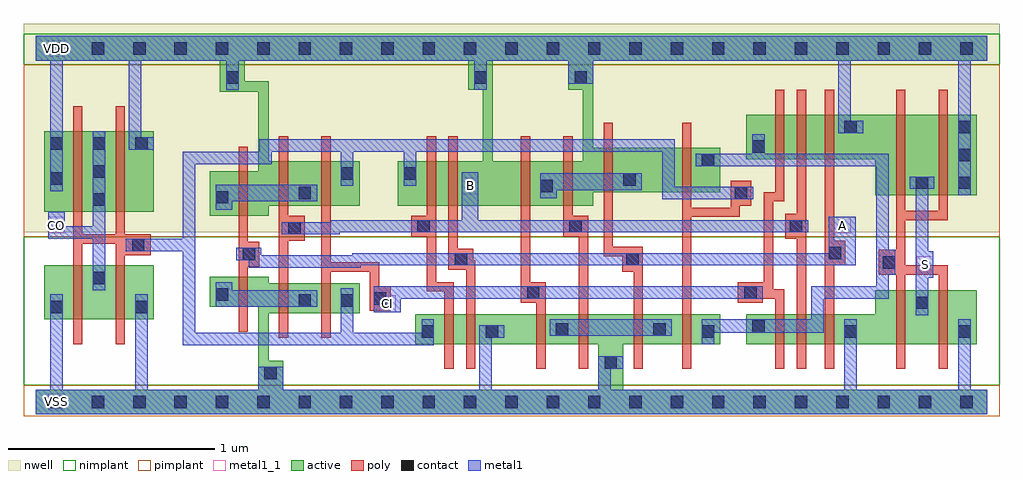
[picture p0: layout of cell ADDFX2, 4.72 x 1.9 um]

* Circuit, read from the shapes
.subckt ADDFX2 A B CI CO S VDD VSS
M1 CO n1 VSS VSS nfet w=0.26u l=0.045u m=2
M2 VSS A n2 VSS nfet w=0.145u l=0.045u
M3 n2 B VSS VSS nfet w=0.145u l=0.045u
M4 n1 CI n2 VSS nfet w=0.145u l=0.045u
M5 n3 B n1 VSS nfet w=0.145u l=0.045u
M6 VSS A n3 VSS nfet w=0.145u l=0.045u
M7 n4 CI VSS VSS nfet w=0.145u l=0.045u
M8 VSS B n4 VSS nfet w=0.145u l=0.045u
M9 n4 A VSS VSS nfet w=0.145u l=0.045u
M10 n5 n1 n4 VSS nfet w=0.145u l=0.045u
M11 n6 CI n5 VSS nfet w=0.145u l=0.045u
M12 n7 B n6 VSS nfet w=0.145u l=0.045u
M13 VSS A n7 VSS nfet w=0.145u l=0.045u
M14 S n5 VSS VSS nfet w=0.26u l=0.045u m=2
M15 CO n1 VDD VDD pfet w=0.39u l=0.045u m=2
M16 VDD A n8 VDD pfet w=0.215u l=0.045u
M17 n8 B VDD VDD pfet w=0.215u l=0.045u
M18 n1 CI n8 VDD pfet w=0.215u l=0.045u
M19 n9 B n1 VDD pfet w=0.215u l=0.045u
M20 VDD A n9 VDD pfet w=0.215u l=0.045u
M21 n10 CI VDD VDD pfet w=0.215u l=0.045u
M22 VDD B n10 VDD pfet w=0.215u l=0.045u
M23 n10 A VDD VDD pfet w=0.215u l=0.045u
M24 n5 n1 n10 VDD pfet w=0.215u l=0.045u
M25 n11 CI n5 VDD pfet w=0.215u l=0.045u
M26 n12 B n11 VDD pfet w=0.215u l=0.045u
M27 VDD A n12 VDD pfet w=0.215u l=0.045u
M28 S n5 VDD VDD pfet w=0.39u l=0.045u m=2
.ends

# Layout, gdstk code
import gdstk
lib = gdstk.Library(unit=1e-6, precision=5e-10)
def R(c, l, rs):  # rectangles x0, y0, x1, y1
    for r in rs: c.add(gdstk.rectangle(r[:2], r[2:], *l))
def A(c, l, x, y, w, h, nx, ny, dx, dy):  # array of equal rectangles
    R(c, l, [(x+i*dx, y+j*dy, x+i*dx+w, y+j*dy+h) for i in range(nx) for j in range(ny)])
def P(c, l, *ps):  # polygons
    for p in ps: c.add(gdstk.Polygon(p, *l))
active = (1, 0)
nwell = (2, 0)
poly = (3, 0)
nimplant = (4, 0)
pimplant = (5, 0)
contact = (6, 0)
metal1 = (7, 0)
metal1_1 = (7, 1)

addfx2 = lib.new_cell('ADDFX2')
R(addfx2, active, [(0.04,0.4,0.57,0.66), (0.04,0.92,0.57,1.31)])
P(addfx2, active, [(0,1.77),(4.6,1.77),(4.6,1.65),(2.695,1.65),(2.695,1.23),(3.31,1.23),(3.31,1.015),(2.695,1.015),(2.695,0.95),(1.75,0.95),(1.75,1.165),(2.16,1.165),(2.16,1.51),(2.09,1.51),(2.09,1.65),(2.21,1.65),(2.21,1.165),(2.645,1.165),(2.645,1.51),(2.575,1.51),(2.575,1.65),(1.01,1.65),(1.01,1.55),(1.125,1.55),(1.125,1.165),(1.565,1.165),(1.565,0.95),(1.125,0.95),(1.125,0.9),(0.84,0.9),(0.84,1.115),(1.075,1.115),(1.075,1.5),(0.89,1.5),(0.89,1.65),(0,1.65)],
  [(3.435,1.39),(4.55,1.39),(4.55,1),(4.06,1),(4.06,1.175),(3.435,1.175)],
  [(0.84,0.605),(1.125,0.605),(1.125,0.575),(1.565,0.575),(1.565,0.43),(1.125,0.43),(1.125,0.2),(1.195,0.2),(1.195,0.06),(2.72,0.06),(2.72,0.28),(1.835,0.28),(1.835,0.425),(3.31,0.425),(3.31,0.28),(2.84,0.28),(2.84,0.06),(4.6,0.06),(4.6,-0.06),(0,-0.06),(0,0.06),(1.075,0.06),(1.075,0.46),(0.84,0.46)],
  [(4.06,0.54),(4.55,0.54),(4.55,0.28),(3.435,0.28),(3.435,0.425),(4.06,0.425)])
R(addfx2, nwell, [(-0.06,0.82,4.66,1.83)])
P(addfx2, poly, [(0.18,1.43),(0.225,1.43),(0.225,0.81),(0.385,0.81),(0.385,1.43),(0.43,1.43),(0.43,0.81),(0.555,0.81),(0.555,0.71),(0.43,0.71),(0.43,0.28),(0.385,0.28),(0.385,0.765),(0.225,0.765),(0.225,0.28),(0.18,0.28)],
  [(1.175,1.285),(1.22,1.285),(1.22,0.9),(1.3,0.9),(1.3,0.78),(1.22,0.78),(1.22,0.31),(1.175,0.31)],
  [(1.38,1.285),(1.425,1.285),(1.425,0.675),(1.66,0.675),(1.66,0.56),(1.715,0.56),(1.715,0.44),(1.615,0.44),(1.615,0.63),(1.425,0.63),(1.425,0.31),(1.38,0.31)],
  [(1.89,1.285),(1.935,1.285),(1.935,0.58),(2.02,0.58),(2.02,0.16),(1.975,0.16),(1.975,0.535),(1.89,0.535),(1.89,0.8),(1.815,0.8),(1.815,0.9),(1.89,0.9)],
  [(1.995,1.285),(2.04,1.285),(2.04,0.74),(2.115,0.74),(2.115,0.685),(2.125,0.685),(2.125,0.16),(2.08,0.16),(2.08,0.64),(1.995,0.64)],
  [(3.575,1.51),(3.62,1.51),(3.62,0.97),(3.565,0.97),(3.565,0.545),(3.62,0.545),(3.62,0.16),(3.575,0.16),(3.575,0.5),(3.515,0.5),(3.515,0.48),(3.395,0.48),(3.395,0.58),(3.52,0.58),(3.52,1.015),(3.575,1.015)],
  [(3.68,1.51),(3.725,1.51),(3.725,0.16),(3.68,0.16),(3.68,0.79),(3.625,0.79),(3.625,0.91),(3.68,0.91)],
  [(3.815,1.51),(3.86,1.51),(3.86,0.78),(3.915,0.78),(3.915,0.66),(3.86,0.66),(3.86,0.16),(3.815,0.16)],
  [(4.16,1.51),(4.205,1.51),(4.205,0.925),(4.365,0.925),(4.365,1.51),(4.41,1.51),(4.41,0.88),(4.205,0.88),(4.205,0.66),(4.41,0.66),(4.41,0.16),(4.365,0.16),(4.365,0.615),(4.205,0.615),(4.205,0.16),(4.16,0.16),(4.16,0.615),(4.075,0.615),(4.075,0.735),(4.16,0.735)],
  [(2.345,1.285),(2.39,1.285),(2.39,0.58),(2.465,0.58),(2.465,0.16),(2.42,0.16),(2.42,0.48),(2.345,0.48)],
  [(2.55,1.285),(2.595,1.285),(2.595,0.9),(2.67,0.9),(2.67,0.16),(2.625,0.16),(2.625,0.8),(2.55,0.8)],
  [(2.745,1.35),(2.79,1.35),(2.79,0.75),(2.935,0.75),(2.935,0.16),(2.89,0.16),(2.89,0.63),(2.835,0.63),(2.835,0.705),(2.745,0.705)],
  [(3.125,1.35),(3.17,1.35),(3.17,0.94),(3.36,0.94),(3.36,1.07),(3.46,1.07),(3.46,0.95),(3.405,0.95),(3.405,0.895),(3.17,0.895),(3.17,0.16),(3.125,0.16)],
  [(0.98,1.235),(1.025,1.235),(1.025,0.775),(1.08,0.775),(1.08,0.655),(1.025,0.655),(1.025,0.34),(0.98,0.34)])
R(addfx2, nimplant, [(-0.06,0.08,4.66,0.8), (-0.06,1.63,4.66,1.78)])
R(addfx2, pimplant, [(-0.06,-0.07,4.66,0.08), (-0.06,0.8,4.66,1.63)])
A(addfx2, contact, 0.07, -0.03, 0.06, 0.06, 23, 2, 0.2, 1.71)
A(addfx2, contact, 4.46, 1.03, 0.06, 0.06, 1, 3, 0, 0.135)
A(addfx2, contact, 0.07, 1.22, 0.06, 0.06, 3, 1, 0.205, 0)
R(addfx2, contact, [(1.105,0.11,1.165,0.17), (2.75,0.16,2.81,0.22), (1.865,0.31,1.925,0.37), (2.175,0.31,2.235,0.37), (3.22,0.31,3.28,0.37), (3.91,0.31,3.97,0.37), (4.46,0.31,4.52,0.37), (2.515,0.32,2.575,0.38), (2.985,0.32,3.045,0.38), (3.465,0.335,3.525,0.395), (0.07,0.43,0.13,0.49), (0.48,0.43,0.54,0.49), (4.255,0.45,4.315,0.51), (1.27,0.46,1.33,0.52), (1.475,0.46,1.535,0.52), (1.635,0.47,1.695,0.53), (0.87,0.49,0.93,0.55), (2.375,0.5,2.435,0.56), (3.425,0.5,3.485,0.56), (0.275,0.57,0.335,0.63), (4.095,0.645,4.155,0.705), (2.025,0.66,2.085,0.72), (2.855,0.66,2.915,0.72), (1,0.685,1.06,0.745), (3.835,0.69,3.895,0.75), (0.465,0.73,0.525,0.79), (1.22,0.81,1.28,0.87), (1.845,0.82,1.905,0.88), (2.58,0.82,2.64,0.88), (3.645,0.82,3.705,0.88), (0.275,0.95,0.335,1.01), (0.87,0.96,0.93,1.02), (1.27,0.98,1.33,1.04), (3.38,0.98,3.44,1.04), (2.44,1.015,2.5,1.075), (4.255,1.03,4.315,1.09), (2.84,1.045,2.9,1.105), (0.07,1.05,0.13,1.11), (1.475,1.075,1.535,1.135), (1.78,1.075,1.84,1.135), (0.275,1.085,0.335,1.145), (3.22,1.14,3.28,1.2), (3.465,1.205,3.525,1.265), (3.91,1.3,3.97,1.36), (0.92,1.54,0.98,1.6), (2.12,1.54,2.18,1.6), (2.605,1.54,2.665,1.6)])
R(addfx2, metal1, [(2.485,0.32,3.075,0.4)])
P(addfx2, metal1, [(0,1.77),(4.6,1.77),(4.6,1.65),(4.52,1.65),(4.52,1),(4.46,1),(4.46,1.65),(3.94,1.65),(3.94,1.36),(4,1.36),(4,1.3),(3.88,1.3),(3.88,1.65),(2.695,1.65),(2.695,1.54),(2.575,1.54),(2.575,1.65),(2.18,1.65),(2.18,1.51),(2.12,1.51),(2.12,1.65),(0.98,1.65),(0.98,1.51),(0.92,1.51),(0.92,1.65),(0.51,1.65),(0.51,1.28),(0.57,1.28),(0.57,1.22),(0.45,1.22),(0.45,1.65),(0.13,1.65),(0.13,1.02),(0.07,1.02),(0.07,1.65),(0,1.65)],
  [(0.06,0.92),(0.14,0.92),(0.14,0.85),(0.275,0.85),(0.275,1.31),(0.335,1.31),(0.335,0.54),(0.275,0.54),(0.275,0.79),(0.06,0.79)],
  [(1.08,1.27),(3.09,1.27),(3.09,1.04),(3.47,1.04),(3.47,0.98),(3.03,0.98),(3.03,1.21),(1.84,1.21),(1.84,1.045),(1.78,1.045),(1.78,1.21),(1.535,1.21),(1.535,1.045),(1.475,1.045),(1.475,1.21),(1.14,1.21),(1.14,1.15),(0.77,1.15),(0.77,0.335),(1.475,0.335),(1.475,0.55),(1.535,0.55),(1.535,0.335),(1.865,0.335),(1.865,0.4),(1.925,0.4),(1.925,0.275),(0.71,0.275),(0.71,0.73),(0.435,0.73),(0.435,0.79),(0.71,0.79),(0.71,1.21),(1.08,1.21)],
  [(3.465,1.295),(3.525,1.295),(3.525,1.2),(4.125,1.2),(4.125,0.735),(4.155,0.735),(4.155,0.615),(4.125,0.615),(4.125,0.5),(3.81,0.5),(3.81,0.335),(3.28,0.335),(3.28,0.28),(3.22,0.28),(3.22,0.4),(3.75,0.4),(3.75,0.56),(4.065,0.56),(4.065,1.14),(3.19,1.14),(3.19,1.2),(3.465,1.2)],
  [(0.87,1.05),(1.36,1.05),(1.36,0.97),(0.95,0.97),(0.95,0.93),(0.87,0.93)],
  [(2.44,1.105),(2.93,1.105),(2.93,1.025),(2.52,1.025),(2.52,0.985),(2.44,0.985)],
  [(2.06,1.11),(2.14,1.11),(2.14,0.88),(3.735,0.88),(3.735,0.82),(1.47,0.82),(1.47,0.81),(1.19,0.81),(1.19,0.87),(1.425,0.87),(1.425,0.88),(2.06,0.88)],
  [(0.97,0.745),(1.09,0.745),(1.09,0.71),(1.53,0.71),(1.53,0.72),(3.835,0.72),(3.835,0.895),(3.965,0.895),(3.965,0.66),(1.57,0.66),(1.57,0.65),(1.03,0.65),(1.03,0.685),(0.97,0.685)],
  [(0.07,0.52),(0.13,0.52),(0.13,0.06),(0.48,0.06),(0.48,0.52),(0.54,0.52),(0.54,0.06),(1.075,0.06),(1.075,0.17),(1.195,0.17),(1.195,0.06),(2.145,0.06),(2.145,0.37),(2.265,0.37),(2.265,0.31),(2.205,0.31),(2.205,0.06),(2.72,0.06),(2.72,0.22),(2.84,0.22),(2.84,0.16),(2.78,0.16),(2.78,0.06),(3.91,0.06),(3.91,0.4),(3.97,0.4),(3.97,0.06),(4.46,0.06),(4.46,0.4),(4.52,0.4),(4.52,0.06),(4.6,0.06),(4.6,-0.06),(0,-0.06),(0,0.06),(0.07,0.06)],
  [(4.225,1.09),(4.345,1.09),(4.345,1.03),(4.315,1.03),(4.315,0.73),(4.34,0.73),(4.34,0.6),(4.315,0.6),(4.315,0.42),(4.255,0.42),(4.255,1.03),(4.225,1.03)],
  [(0.87,0.58),(0.95,0.58),(0.95,0.54),(1.36,0.54),(1.36,0.46),(0.87,0.46)],
  [(1.635,0.56),(3.515,0.56),(3.515,0.5),(1.765,0.5),(1.765,0.435),(1.635,0.435)])
A(addfx2, metal1_1, 0.06, -0.04, 0.08, 0.08, 1, 3, 0, 0.855)
R(addfx2, metal1_1, [(1.66,0.435,1.74,0.515), (4.26,0.625,4.34,0.705), (3.86,0.815,3.94,0.895), (2.06,1.005,2.14,1.085)])
addfx2.add(gdstk.Label('S', (4.3,0.665), layer=7, texttype=1))
addfx2.add(gdstk.Label('CO', (0.1,0.855), layer=7, texttype=1))
addfx2.add(gdstk.Label('B', (2.1,1.045), layer=7, texttype=1))
addfx2.add(gdstk.Label('A', (3.9,0.855), layer=7, texttype=1))
addfx2.add(gdstk.Label('CI', (1.7,0.475), layer=7, texttype=1))
addfx2.add(gdstk.Label('VDD', (0.1,1.71), layer=7, texttype=1))
addfx2.add(gdstk.Label('VSS', (0.1,0), layer=7, texttype=1))
addfx2.add(gdstk.Label('ADDFX2', (0,0), layer=63, texttype=0))

lib.write_gds('ADDFX2.gds')
